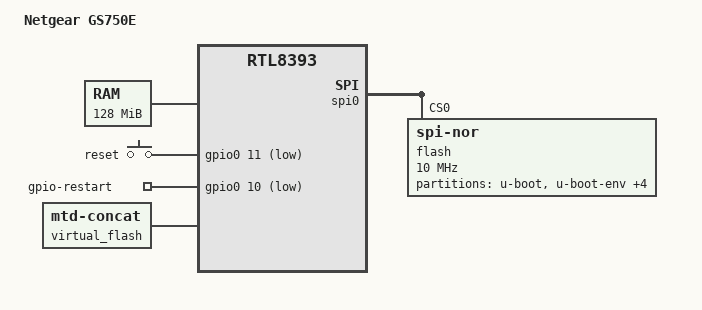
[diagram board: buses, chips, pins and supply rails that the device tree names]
// SPDX-License-Identifier: GPL-2.0-or-later OR MIT

#include "rtl839x.dtsi"

#include <dt-bindings/input/input.h>
#include <dt-bindings/gpio/gpio.h>

/ {
	compatible = "netgear,gs750e", "realtek,rtl8393-soc";
	model = "Netgear GS750E";

	aliases {
		label-mac-device = &ethernet0;
	};

	memory@0 {
		device_type = "memory";
		reg = <0x0 0x8000000>;
	};

	keys {
		compatible = "gpio-keys";

		reset {
			label = "reset";
			gpios = <&gpio0 11 GPIO_ACTIVE_LOW>;
			linux,code = <KEY_RESTART>;
		};
	};

	gpio-restart {
		compatible = "gpio-restart";
		gpios = <&gpio0 10 GPIO_ACTIVE_LOW>;
	};

	virtual_flash {
		compatible = "mtd-concat";

		devices = <&fwconcat0>, <&fwconcat1>, <&fwconcat2>;

		partitions {
			compatible = "fixed-partitions";
			#address-cells = <1>;
			#size-cells = <1>;

			partition@0 {
				label = "firmware";
				reg = <0x0 0x760000>;
				compatible = "openwrt,uimage", "denx,uimage";
				openwrt,ih-magic = <0x174e4741>;
			};
		};
	};
};

&spi0 {
	status = "okay";

	flash@0 {
		compatible = "jedec,spi-nor";
		reg = <0>;
		spi-max-frequency = <10000000>;

		partitions {
			compatible = "fixed-partitions";
			#address-cells = <1>;
			#size-cells = <1>;

			partition@0 {
				label = "u-boot";
				reg = <0x0 0x80000>;
				read-only;
			};

			partition@80000 {
				label = "u-boot-env";
				reg = <0x80000 0x10000>;
				read-only;
			};

			partition@90000 {
				label = "u-boot-env2";
				reg = <0x90000 0x10000>;
				read-only;
			};

			fwconcat1: partition@a0000 {
				label = "jffs2_cfg";
				reg = <0xa0000 0x80000>;
			};

			fwconcat2: partition@120000 {
				label = "jffs2_log";
				reg = <0x120000 0x80000>;
			};

			fwconcat0: partition@1a0000 {
				label = "runtime";
				reg = <0x1a0000 0x660000>;
			};
		};
	};
};

&mdio_bus0 {
	// Switch doesn't come back properly after a reset so don't.
	// reset-gpios = <&gpio0 23 GPIO_ACTIVE_LOW>;

	/* External phy RTL8218B #1 */
	PHY_C22(0, 0)
	PHY_C22(1, 1)
	PHY_C22(2, 2)
	PHY_C22(3, 3)
	PHY_C22(4, 4)
	PHY_C22(5, 5)
	PHY_C22(6, 6)
	PHY_C22(7, 7)

	/* External phy RTL8218B #2 */
	PHY_C22(8, 8)
	PHY_C22(9, 9)
	PHY_C22(10, 10)
	PHY_C22(11, 11)
	PHY_C22(12, 12)
	PHY_C22(13, 13)
	PHY_C22(14, 14)
	PHY_C22(15, 15)

	/* External phy RTL8218B #3 */
	PHY_C22(16, 16)
	PHY_C22(17, 17)
	PHY_C22(18, 18)
	PHY_C22(19, 19)
	PHY_C22(20, 20)
	PHY_C22(21, 21)
	PHY_C22(22, 22)
	PHY_C22(23, 23)

	/* External phy RTL8218B #4 */
	PHY_C22(24, 24)
	PHY_C22(25, 25)
	PHY_C22(26, 26)
	PHY_C22(27, 27)
	PHY_C22(28, 28)
	PHY_C22(29, 29)
	PHY_C22(30, 30)
	PHY_C22(31, 31)

	/* External phy RTL8218B #5 */
	PHY_C22(32, 32)
	PHY_C22(33, 33)
	PHY_C22(34, 34)
	PHY_C22(35, 35)
	PHY_C22(36, 36)
	PHY_C22(37, 37)
	PHY_C22(38, 38)
	PHY_C22(39, 39)

	/* External phy RTL8218B #6 */
	PHY_C22(40, 40)
	PHY_C22(41, 41)
	PHY_C22(42, 42)
	PHY_C22(43, 43)
	PHY_C22(44, 44)
	PHY_C22(45, 45)
	PHY_C22(46, 46)
	PHY_C22(47, 47)
};

&switch0 {
	ethernet-ports {
		#address-cells = <1>;
		#size-cells = <0>;

		SWITCH_PORT_SDS(0, 1, 0, qsgmii)
		SWITCH_PORT_SDS(1, 2, 0, qsgmii)
		SWITCH_PORT_SDS(2, 3, 0, qsgmii)
		SWITCH_PORT_SDS(3, 4, 0, qsgmii)
		SWITCH_PORT_SDS(4, 5, 1, qsgmii)
		SWITCH_PORT_SDS(5, 6, 1, qsgmii)
		SWITCH_PORT_SDS(6, 7, 1, qsgmii)
		SWITCH_PORT_SDS(7, 8, 1, qsgmii)

		SWITCH_PORT_SDS(8, 9, 2, qsgmii)
		SWITCH_PORT_SDS(9, 10, 2, qsgmii)
		SWITCH_PORT_SDS(10, 11, 2, qsgmii)
		SWITCH_PORT_SDS(11, 12, 2, qsgmii)
		SWITCH_PORT_SDS(12, 13, 3, qsgmii)
		SWITCH_PORT_SDS(13, 14, 3, qsgmii)
		SWITCH_PORT_SDS(14, 15, 3, qsgmii)
		SWITCH_PORT_SDS(15, 16, 3, qsgmii)

		SWITCH_PORT_SDS(16, 17, 4, qsgmii)
		SWITCH_PORT_SDS(17, 18, 4, qsgmii)
		SWITCH_PORT_SDS(18, 19, 4, qsgmii)
		SWITCH_PORT_SDS(19, 20, 4, qsgmii)
		SWITCH_PORT_SDS(20, 21, 5, qsgmii)
		SWITCH_PORT_SDS(21, 22, 5, qsgmii)
		SWITCH_PORT_SDS(22, 23, 5, qsgmii)
		SWITCH_PORT_SDS(23, 24, 5, qsgmii)

		SWITCH_PORT_SDS(24, 25, 6, qsgmii)
		SWITCH_PORT_SDS(25, 26, 6, qsgmii)
		SWITCH_PORT_SDS(26, 27, 6, qsgmii)
		SWITCH_PORT_SDS(27, 28, 6, qsgmii)
		SWITCH_PORT_SDS(28, 29, 7, qsgmii)
		SWITCH_PORT_SDS(29, 30, 7, qsgmii)
		SWITCH_PORT_SDS(30, 31, 7, qsgmii)
		SWITCH_PORT_SDS(31, 32, 7, qsgmii)

		SWITCH_PORT_SDS(32, 33, 8, qsgmii)
		SWITCH_PORT_SDS(33, 34, 8, qsgmii)
		SWITCH_PORT_SDS(34, 35, 8, qsgmii)
		SWITCH_PORT_SDS(35, 36, 8, qsgmii)
		SWITCH_PORT_SDS(36, 37, 9, qsgmii)
		SWITCH_PORT_SDS(37, 38, 9, qsgmii)
		SWITCH_PORT_SDS(38, 39, 9, qsgmii)
		SWITCH_PORT_SDS(39, 40, 9, qsgmii)

		SWITCH_PORT_SDS(40, 41, 10, qsgmii)
		SWITCH_PORT_SDS(41, 42, 10, qsgmii)
		SWITCH_PORT_SDS(42, 43, 10, qsgmii)
		SWITCH_PORT_SDS(43, 44, 10, qsgmii)
		SWITCH_PORT_SDS(44, 45, 11, qsgmii)
		SWITCH_PORT_SDS(45, 46, 11, qsgmii)
		SWITCH_PORT_SDS(46, 47, 11, qsgmii)
		SWITCH_PORT_SDS(47, 48, 11, qsgmii)

		port@48 {
			reg = <48>;
			label = "lan49";
			pcs-handle = <&serdes12>;
			phy-mode = "1000base-x";
			managed = "in-band-status";
			/* i2c and gpio not yet identified */
		};
		port@49 {
			reg = <49>;
			label = "lan50";
			pcs-handle = <&serdes13>;
			phy-mode = "1000base-x";
			managed = "in-band-status";
			/* i2c and gpio not yet identified */
		};

		/* CPU-Port */
		port@52 {
			ethernet = <&ethernet0>;
			reg = <52>;
			phy-mode = "internal";
			fixed-link {
				speed = <1000>;
				full-duplex;
			};
		};
	};
};
